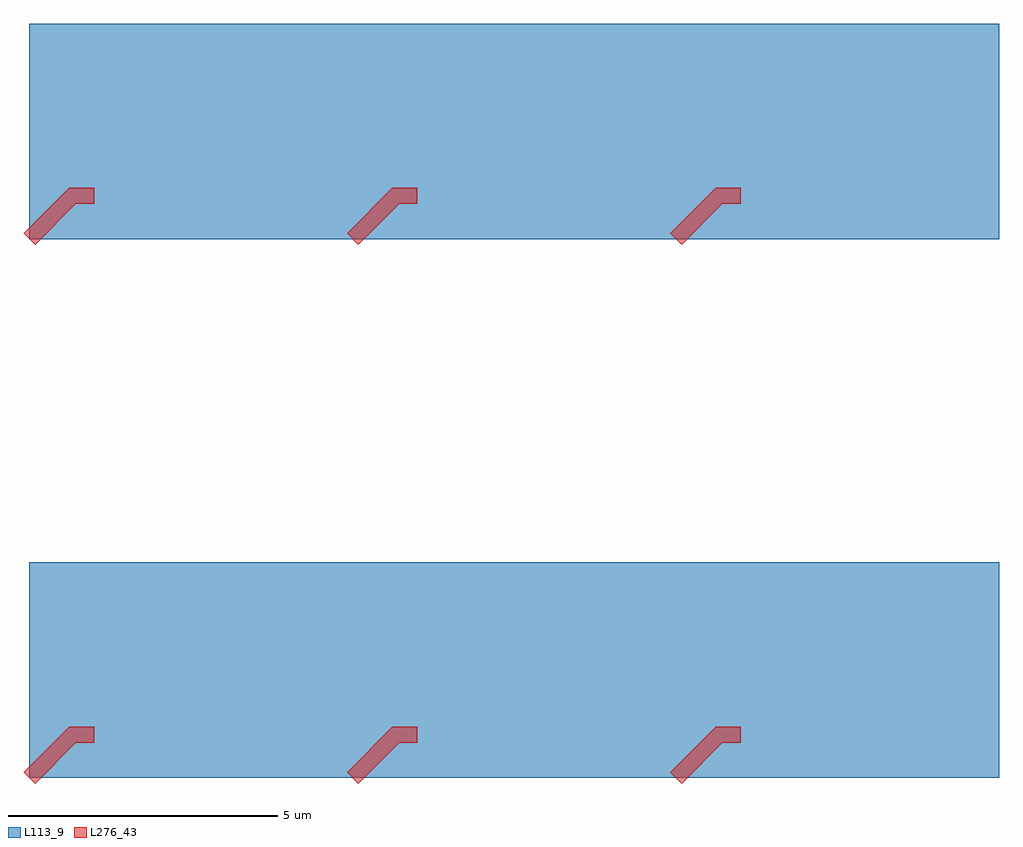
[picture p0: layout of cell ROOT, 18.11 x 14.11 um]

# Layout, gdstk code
from math import pi, radians
import gdstk
lib = gdstk.Library(unit=1e-6, precision=5e-09)
def R(c, l, rs):  # rectangles x0, y0, x1, y1
    for r in rs: c.add(gdstk.rectangle(r[:2], r[2:], *l))
L113_9 = (113, 9)
L276_43 = (276, 43)

child = lib.new_cell('CHILD')
R(child, L113_9, [(0,0,2,3)])
child.add(gdstk.FlexPath([(0,0),(0.4,0.4),(0.4,0.6)], 0.15, ends="flush", simple_path=True, layer=276, datatype=43))  # L276_43

root = lib.new_cell('ROOT')
r = gdstk.Reference(child, (10,8), rotation=pi/2, magnification=2, x_reflection=True); r.repetition = gdstk.Repetition(2, 3, v1=(0,10), v2=(6,0)); root.add(r)

lib.write_gds('ROOT.gds')
